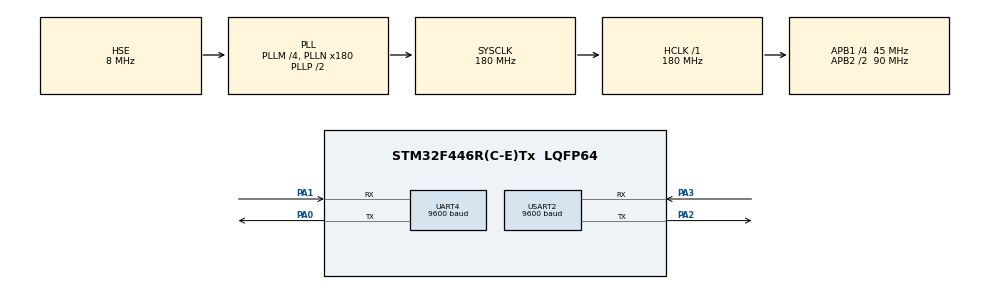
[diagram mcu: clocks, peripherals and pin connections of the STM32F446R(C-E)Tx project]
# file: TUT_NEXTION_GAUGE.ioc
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Mcu.Family=STM32F4
Mcu.Name=STM32F446R(C-E)Tx
Mcu.Package=LQFP64
NVIC.PriorityGroup=NVIC_PRIORITYGROUP_4
PA0-WKUP.Mode=Asynchronous
PA0-WKUP.Signal=UART4_TX
PA1.Mode=Asynchronous
PA1.Signal=UART4_RX
PA2.Mode=Asynchronous
PA2.Signal=USART2_TX
PA3.Mode=Asynchronous
PA3.Signal=USART2_RX
PH0-OSC_IN.Mode=HSE-External-Oscillator
PH0-OSC_IN.Signal=RCC_OSC_IN
PH1-OSC_OUT.Mode=HSE-External-Oscillator
PH1-OSC_OUT.Signal=RCC_OSC_OUT
ProjectManager.HeapSize=0x200
ProjectManager.StackSize=0x400
ProjectManager.TargetToolchain=STM32CubeIDE
RCC.AHBFreq_Value=180000000
RCC.APB1CLKDivider=RCC_HCLK_DIV4
RCC.APB1Freq_Value=45000000
RCC.APB1TimFreq_Value=90000000
RCC.APB2CLKDivider=RCC_HCLK_DIV2
RCC.APB2Freq_Value=90000000
RCC.APB2TimFreq_Value=180000000
RCC.CortexFreq_Value=180000000
RCC.HCLKFreq_Value=180000000
RCC.HSE_VALUE=8000000
RCC.PLLM=4
RCC.PLLN=180
RCC.PLLSourceVirtual=RCC_PLLSOURCE_HSE
RCC.SYSCLKFreq_VALUE=180000000
RCC.SYSCLKSource=RCC_SYSCLKSOURCE_PLLCLK
RCC.USBFreq_Value=180000000
RCC.VCOOutputFreq_Value=360000000
UART4.BaudRate=9600
UART4.VirtualMode=Asynchronous
USART2.BaudRate=9600
USART2.VirtualMode=VM_ASYNC
board=custom

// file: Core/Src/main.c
/* USER CODE BEGIN Header */
/**
  ******************************************************************************
  * @file           : main.c
  * @brief          : Main program body
  ******************************************************************************
  * @attention
  *
  * <h2><center>&copy; Copyright (c) 2020 STMicroelectronics.
  * All rights reserved.</center></h2>
  *
  * This software component is licensed by ST under BSD 3-Clause license,
  * the "License"; You may not use this file except in compliance with the
  * License. You may obtain a copy of the License at:
  *                        opensource.org/licenses/BSD-3-Clause
  *
  ******************************************************************************
  */
/* USER CODE END Header */
#include "main.h"

/* USER CODE BEGIN Includes */
#include "stdio.h"
/* USER CODE END Includes */

UART_HandleTypeDef huart4;
UART_HandleTypeDef huart2;

void SystemClock_Config(void);
static void MX_GPIO_Init(void);
static void MX_UART4_Init(void);
static void MX_USART2_UART_Init(void);

/* USER CODE BEGIN 0 */

uint8_t Cmd_End[3] = {0xFF,0xFF,0xFF};  // command end sequence

void SendtoGauge (char *obj, uint16_t value)
{
	char buf[30];

	value += 315;  // 0 error
	if (value >= 360) value = value-360;

	int len = sprintf (buf, "%s=%u", obj, value);
	HAL_UART_Transmit(&huart2, (uint8_t *)buf, len, 1000);
	HAL_UART_Transmit(&huart2, Cmd_End, 3, 1000);
}

void SendtoNum (char *obj, uint16_t value)
{
	char buf[30];
	int len = sprintf (buf, "%s=%u", obj, value);
	HAL_UART_Transmit(&huart2, (uint8_t *)buf, len, 1000);
	HAL_UART_Transmit(&huart2, Cmd_End, 3, 1000);
}

void SendtoPB (char *obj, uint16_t value)
{
	char buf[30];
	int len = sprintf (buf, "%s=%u", obj, value);
	HAL_UART_Transmit(&huart2, (uint8_t *)buf, len, 1000);
	HAL_UART_Transmit(&huart2, Cmd_End, 3, 1000);
}

uint16_t val=0;

/* USER CODE END 0 */

int main(void)
{

  /* MCU Configuration--------------------------------------------------------*/

  /* Reset of all peripherals, Initializes the Flash interface and the Systick. */
  HAL_Init();

  /* Configure the system clock */
  SystemClock_Config();

  /* Initialize all configured peripherals */
  MX_GPIO_Init();
  MX_UART4_Init();
  MX_USART2_UART_Init();

  /* Infinite loop */
  while (1)
  {

    /* USER CODE BEGIN 3 */

	  for (int value = 0; value < 270; value++)
	  {
		  SendtoGauge("z0.val", value);
		  SendtoNum("n0.val", value);

		  if (value<160) SendtoPB("j0.pco", 2016);
		  if ((value>160) && (value<200)) SendtoPB("j0.pco", 65504);
		  if ((value>200) && (value<240)) SendtoPB("j0.pco", 64520);
		  if ((value>240) && (value<270)) SendtoPB("j0.pco", 63488);

		  float val_p = ((float)value/270.0)*100;
		  SendtoPB("j0.val", val_p);

		  HAL_Delay (10);
	  }
  }
  /* USER CODE END 3 */
}

void SystemClock_Config(void)
{
  RCC_OscInitTypeDef RCC_OscInitStruct = {0};
  RCC_ClkInitTypeDef RCC_ClkInitStruct = {0};

  /** Configure the main internal regulator output voltage
  */
  __HAL_RCC_PWR_CLK_ENABLE();
  __HAL_PWR_VOLTAGESCALING_CONFIG(PWR_REGULATOR_VOLTAGE_SCALE1);
  /** Initializes the RCC Oscillators according to the specified parameters
  * in the RCC_OscInitTypeDef structure.
  */
  RCC_OscInitStruct.OscillatorType = RCC_OSCILLATORTYPE_HSE;
  RCC_OscInitStruct.HSEState = RCC_HSE_ON;
  RCC_OscInitStruct.PLL.PLLState = RCC_PLL_ON;
  RCC_OscInitStruct.PLL.PLLSource = RCC_PLLSOURCE_HSE;
  RCC_OscInitStruct.PLL.PLLM = 4;
  RCC_OscInitStruct.PLL.PLLN = 180;
  RCC_OscInitStruct.PLL.PLLP = RCC_PLLP_DIV2;
  RCC_OscInitStruct.PLL.PLLQ = 2;
  RCC_OscInitStruct.PLL.PLLR = 2;
  if (HAL_RCC_OscConfig(&RCC_OscInitStruct) != HAL_OK)
  {
    Error_Handler();
  }
  /** Activate the Over-Drive mode
  */
  if (HAL_PWREx_EnableOverDrive() != HAL_OK)
  {
    Error_Handler();
  }
  /** Initializes the CPU, AHB and APB buses clocks
  */
  RCC_ClkInitStruct.ClockType = RCC_CLOCKTYPE_HCLK|RCC_CLOCKTYPE_SYSCLK
                              |RCC_CLOCKTYPE_PCLK1|RCC_CLOCKTYPE_PCLK2;
  RCC_ClkInitStruct.SYSCLKSource = RCC_SYSCLKSOURCE_PLLCLK;
  RCC_ClkInitStruct.AHBCLKDivider = RCC_SYSCLK_DIV1;
  RCC_ClkInitStruct.APB1CLKDivider = RCC_HCLK_DIV4;
  RCC_ClkInitStruct.APB2CLKDivider = RCC_HCLK_DIV2;

  if (HAL_RCC_ClockConfig(&RCC_ClkInitStruct, FLASH_LATENCY_5) != HAL_OK)
  {
    Error_Handler();
  }
}

static void MX_UART4_Init(void)
{

  huart4.Instance = UART4;
  huart4.Init.BaudRate = 9600;
  huart4.Init.WordLength = UART_WORDLENGTH_8B;
  huart4.Init.StopBits = UART_STOPBITS_1;
  huart4.Init.Parity = UART_PARITY_NONE;
  huart4.Init.Mode = UART_MODE_TX_RX;
  huart4.Init.HwFlowCtl = UART_HWCONTROL_NONE;
  huart4.Init.OverSampling = UART_OVERSAMPLING_16;
  if (HAL_UART_Init(&huart4) != HAL_OK)
  {
    Error_Handler();
  }

}

static void MX_USART2_UART_Init(void)
{

  huart2.Instance = USART2;
  huart2.Init.BaudRate = 9600;
  huart2.Init.WordLength = UART_WORDLENGTH_8B;
  huart2.Init.StopBits = UART_STOPBITS_1;
  huart2.Init.Parity = UART_PARITY_NONE;
  huart2.Init.Mode = UART_MODE_TX_RX;
  huart2.Init.HwFlowCtl = UART_HWCONTROL_NONE;
  huart2.Init.OverSampling = UART_OVERSAMPLING_16;
  if (HAL_UART_Init(&huart2) != HAL_OK)
  {
    Error_Handler();
  }

}

static void MX_GPIO_Init(void)
{

  /* GPIO Ports Clock Enable */
  __HAL_RCC_GPIOH_CLK_ENABLE();
  __HAL_RCC_GPIOA_CLK_ENABLE();

}

void Error_Handler(void)
{
}

/************************ (C) COPYRIGHT STMicroelectronics *****END OF FILE****/
